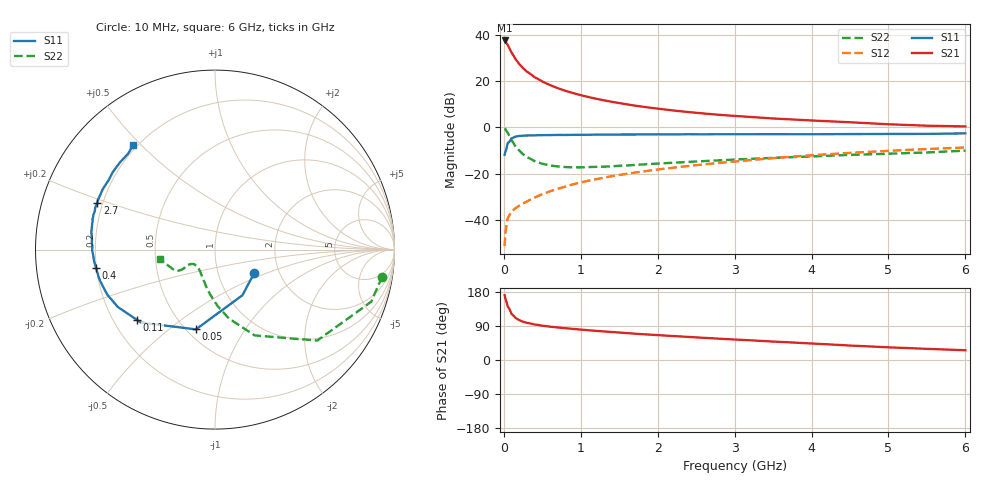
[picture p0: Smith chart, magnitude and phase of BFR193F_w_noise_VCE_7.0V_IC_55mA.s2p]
! (c) 2017  Infineon Technologies AG, Munich
! Infineon Technologies  Discrete & RF Semiconductors
! BFR193F
! VCE =  7.0 V,  IC =  55 mA
! Common Emitter S-Parameters:  Jan 2017
# GHz  S  MA  R  50
!  f  S11  S21  S12  S22
! GHz  MAG  ANG  MAG  ANG  MAG  ANG  MAG  ANG
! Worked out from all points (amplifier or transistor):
!   77 points, 10 MHz to 6 GHz, reference 50 ohm
!   highest |S21| = 37.5 dB at 10 MHz (marker M1)
!   |S21| within 3 dB of that: start of sweep to 66.47 MHz
!   unconditionally stable (mu >= 1): 785.7 MHz to 2.546 GHz
!   at 130 MHz: K = 0.49, MSG = 33.1 dB, |S12| = -35.5 dB
!   at 2.2 GHz: K = 1.02, MAG = 11.6 dB, |S12| = -17.5 dB
!   at 6 GHz: K = 0.86, MSG = 4.6 dB, |S12| = -8.7 dB
!   lowest NFmin = 1.56 dB at 450 MHz
!   S11 on the Smith chart (normalised r, x): 10 MHz: 1.48, -0.42; 50 MHz: 0.56, -0.63; 110 MHz: 0.30, -0.35; 400 MHz: 0.20, -0.07; 2.7 GHz: 0.18, +0.19; 6 GHz: 0.18, +0.47
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0.01  0.2548 -31.5  75.33 171.0  0.0027 87.0  0.943 -9.2
0.02  0.2967 -59.0  72.56 162.2  0.0051 76.9  0.9179 -18.4
0.05  0.4568 -103.4  60.19 141.6  0.0107 62.9  0.7629 -41.6
0.1  0.5787 -135.3  41.34 121.4  0.015 53.7  0.5273 -65.1
0.11  0.5857 -138.3  39.01 119.8  0.0156 53.5  0.4983 -67.2
0.15  0.6286 -149.4  30.1 111.3  0.0178 52.7  0.3915 -78.6
0.2  0.6502 -157.2  23.36 105.1  0.0202 53.8  0.3147 -87.3
0.25  0.6592 -162.8  18.98 101.0  0.0227 56.6  0.2608 -94.6
0.3  0.6657 -166.4  16 98.1  0.025 58.2  0.2288 -100.3
0.4  0.6708 -171.4  12.13 93.6  0.0302 62.4  0.1859 -109.4
0.5  0.6771 -174.7  9.77 90.6  0.0359 65.3  0.1632 -116.7
0.6  0.6793 -177.3  8.178 88.0  0.0414 68.2  0.1495 -122.9
0.7  0.6844 -179.7  7.03 85.8  0.0469 69.8  0.143 -127.6
0.9  0.6878 176.7  5.491 82.0  0.0587 72.0  0.1365 -135.7
1.1  0.6911 173.9  4.51 78.5  0.0701 72.8  0.1384 -140.5
1.5  0.6977 169.2  3.339 72.5  0.0931 74.0  0.1475 -147.0
2.1  0.704 163.2  2.421 64.5  0.1282 73.8  0.1681 -150.0
2.7  0.7066 158.2  1.925 57.4  0.1639 72.6  0.1896 -149.7
3.1  0.7083 154.9  1.719 53.0  0.1884 71.7  0.2042 -148.8
4.1  0.7088 146.2  1.381 42.5  0.2545 67.7  0.2383 -150.6
5.1  0.7186 136.4  1.147 32.6  0.3159 62.2  0.2722 -160.1
6  0.7401 128.1  1.046 25.7  0.3659 56.9  0.3134 -170.0
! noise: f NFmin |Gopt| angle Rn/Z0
0.45  1.56  0.48  -179  0.07
0.9  1.64  0.49  -177  0.08
1.9  2.22  0.6  -163  0.1
2.4  2.54  0.62  -155  0.16
